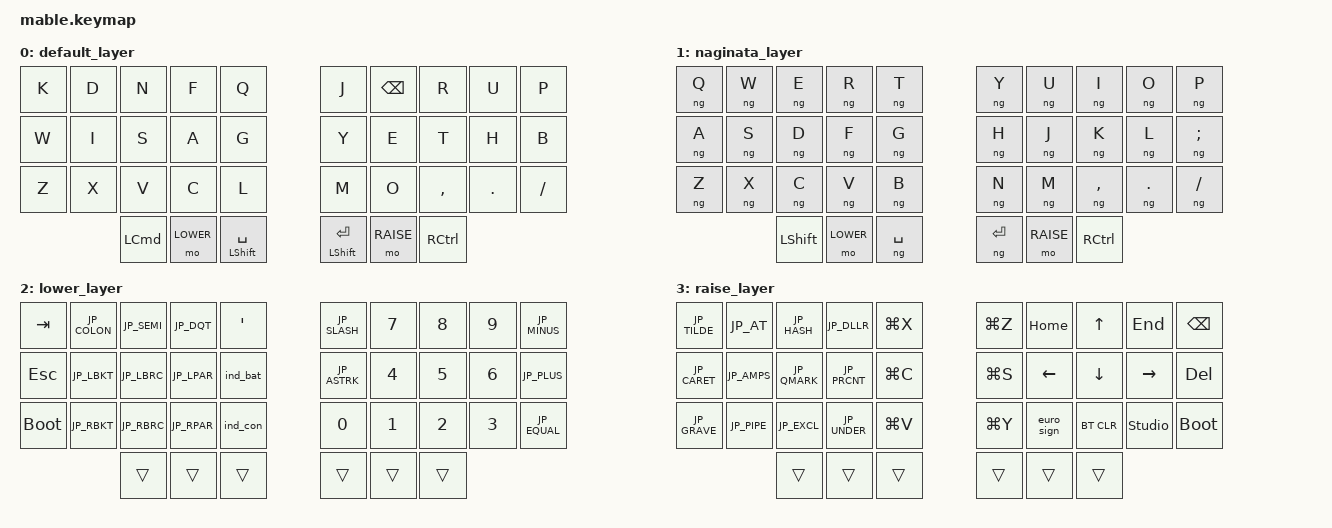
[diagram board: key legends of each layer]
#include <behaviors/rgbled_widget.dtsi>
#include <behaviors/naginata.dtsi>

#define HOST_OS 2
#include "zmk-helpers/helper.h"

#define ZMK_BEHAVIORS_OMIT_KT

#undef ZMK_BEHAVIORS_KEEP_ALL

#define ZMK_BEHAVIORS_KEEP_SK
#define ZMK_BEHAVIORS_KEEP_MT
#define ZMK_BEHAVIORS_KEEP_KT

#include <behaviors.dtsi>
#include <dt-bindings/zmk/keys.h>
#include <dt-bindings/zmk/bt.h>
#include <dt-bindings/zmk/outputs.h>
#include "keycode_japanese.h"

#define DEFAULT  0
#define NAGINATA 1
#define LOWER    2
#define RAISE    3

#define CONFIG_ZMK_MACRO_DEFAULT_WAIT_MS 40
#define CONFIG_ZMK_MACRO_DEFAULT_TAP_MS 40

ZMK_UNICODE_SINGLE(euro_sign, N2, N0, A, C)

/ {

    macros {
        ng_on: ng_on {
            compatible = "zmk,behavior-macro";
            #binding-cells = <0>;
            bindings
                = <&macro_tap &kp LANGUAGE_1 &kp INTERNATIONAL_4 &to 1>
                ;
        };
        ng_off: ng_off {
            compatible = "zmk,behavior-macro";
            #binding-cells = <0>;
            bindings
                = <&macro_tap &kp LANGUAGE_2 &kp INTERNATIONAL_5 &to 0>
                ;
        };
    };

    combos {
        compatible = "zmk,combos";
        combo_ng_on {
            timeout-ms = <300>;
            key-positions = <15 16>;
            bindings = <&ng_on>;
            layers = <0>;
        };
        combo_ng_off {
            timeout-ms = <300>;
            key-positions = <13 14>;
            bindings = <&ng_off>;
            layers = <0 1>;
        };
    };

    keymap {
        compatible = "zmk,keymap";

        default_layer {
            bindings = <
            // +----------+----------+----------+----------+----------+----------+----------+----------+----------+----------
                &kp K      &kp D      &kp N      &kp F      &kp Q      &kp J      &kp BSPC   &kp R      &kp U      &kp P
                &kp W      &kp I      &kp S      &kp A      &kp G      &kp Y      &kp E      &kp T      &kp H      &kp B
                &kp Z      &kp X      &kp V      &kp C      &kp L      &kp M      &kp O      &kp COMMA  &kp DOT    &kp SLASH
                                      &kp LCMD   &mo LOWER  &mt LSHFT SPACE  &mt LSHFT ENTER  &mo RAISE  &kp RCTRL
                >;
        };

        naginata_layer {
            bindings = <
            // +----------+----------+----------+----------+----------+----------+----------+----------+----------+----------
                &ng Q      &ng W      &ng E      &ng R      &ng T      &ng Y      &ng U      &ng I      &ng O      &ng P
                &ng A      &ng S      &ng D      &ng F      &ng G      &ng H      &ng J      &ng K      &ng L      &ng SEMI
                &ng Z      &ng X      &ng C      &ng V      &ng B      &ng N      &ng M      &ng COMMA  &ng DOT    &ng SLASH
                                      &kp LSHIFT &mo LOWER  &ng SPACE  &ng ENTER  &mo RAISE  &kp RCTRL
                >;
        };
 
        lower_layer {
            bindings = <
            // +-----------+-----------+-----------+-----------+-----------+-----------+-----------+-----------+-----------+----------
                &kp TAB     &kp JP_COLON  &kp JP_SEMI   &kp JP_DQT    &kp SQT    &kp JP_SLASH  &kp N7     &kp N8     &kp N9     &kp JP_MINUS
                &kp ESC     &kp JP_LBKT   &kp JP_LBRC   &kp JP_LPAR   &ind_bat   &kp JP_ASTRK  &kp N4     &kp N5     &kp N6     &kp JP_PLUS
               &bootloader  &kp JP_RBKT   &kp JP_RBRC   &kp JP_RPAR   &ind_con   &kp N0        &kp N1     &kp N2     &kp N3     &kp JP_EQUAL     
                                          &trans        &trans        &trans     &trans        &trans     &trans
                >;
        };

        raise_layer {
            bindings = <
            // +----------+----------+----------+----------+----------+----------+----------+----------+----------+----------
                &kp JP_TILDE  &kp JP_AT     &kp JP_HASH   &kp JP_DLLR   &kp LG(X)  &kp LG(Z)   &kp HOME   &kp UP     &kp END    &kp BSPC
                &kp JP_CARET  &kp JP_AMPS   &kp JP_QMARK  &kp JP_PRCNT  &kp LG(C)  &kp LG(S)   &kp LEFT   &kp DOWN   &kp RIGHT  &kp DEL
                &kp JP_GRAVE  &kp JP_PIPE   &kp JP_EXCL   &kp JP_UNDER  &kp LG(V)  &kp LG(Y)   &euro_sign &bt BT_CLR &studio_unlock &bootloader
                                            &trans        &trans        &trans     &trans      &trans     &trans
                >;
        };

    };
};
